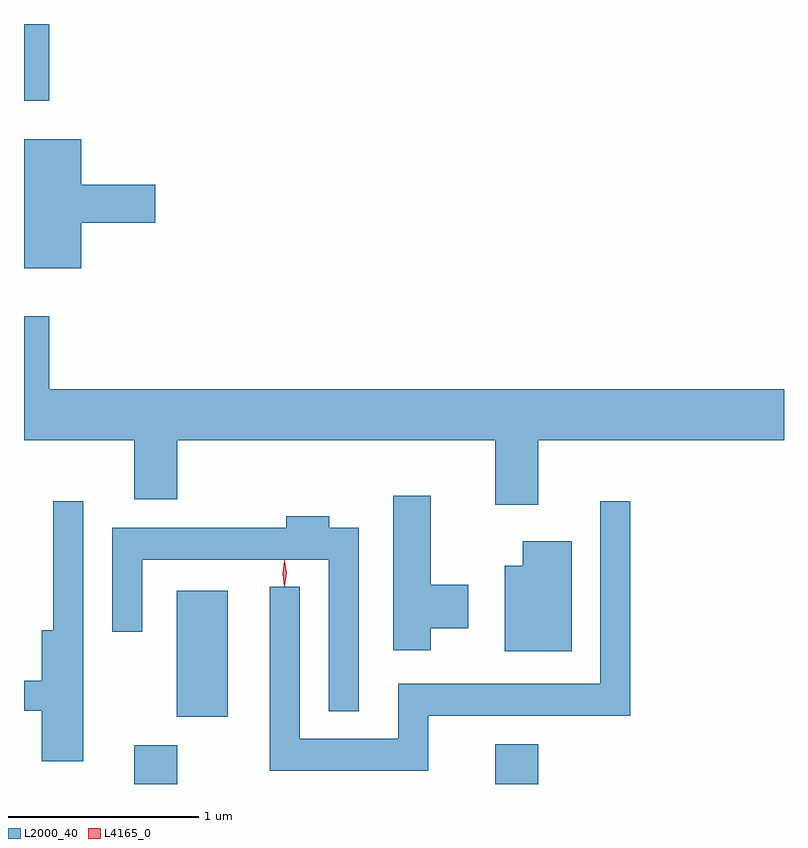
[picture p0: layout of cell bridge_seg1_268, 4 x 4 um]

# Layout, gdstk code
import gdstk
lib = gdstk.Library(unit=1e-6, precision=1e-09)
def R(c, l, rs):  # rectangles x0, y0, x1, y1
    for r in rs: c.add(gdstk.rectangle(r[:2], r[2:], *l))
def P(c, l, *ps):  # polygons
    for p in ps: c.add(gdstk.Polygon(p, *l))
L2000_40 = (2000, 40)
L4165_0 = (4165, 0)

bridge_seg1_268 = lib.new_cell('bridge_seg1_268')
R(bridge_seg1_268, L2000_40, [(906.571,893.326,906.799,893.529), (908.471,893.326,908.699,893.534), (906.796,893.681,907.064,894.344), (905.992,896.923,906.124,897.326)])
P(bridge_seg1_268, L2000_40, [(906.294,896.281),(906.684,896.281),(906.684,896.479),(906.294,896.479),(906.294,896.719),(905.992,896.719),(905.992,896.041),(906.294,896.041)],
  [(908.699,895.136),(909.992,895.136),(909.992,895.404),(906.124,895.404),(906.124,895.788),(905.992,895.788),(905.992,895.136),(906.571,895.136),(906.571,894.826),(906.799,894.826),(906.799,895.136),(908.471,895.136),(908.471,894.796),(908.699,894.796)],
  [(908.134,894.146),(908.329,894.146),(908.329,894.374),(908.134,894.374),(908.134,894.844),(907.936,894.844),(907.936,894.031),(908.134,894.031)],
  [(906.304,894.813),(906.146,894.813),(906.146,894.134),(906.086,894.134),(906.086,893.869),(905.992,893.869),(905.992,893.711),(906.086,893.711),(906.086,893.446),(906.304,893.446)],
  [(908.119,893.686),(909.184,893.686),(909.184,894.813),(909.026,894.813),(909.026,893.854),(907.961,893.854),(907.961,893.564),(907.444,893.564),(907.444,894.363),(907.286,894.363),(907.286,893.396),(908.119,893.396)],
  [(907.754,894.674),(907.599,894.674),(907.599,894.734),(907.371,894.734),(907.371,894.674),(906.456,894.674),(906.456,894.128),(906.614,894.128),(906.614,894.506),(907.596,894.506),(907.596,893.708),(907.754,893.708)],
  [(908.874,894.604),(908.616,894.604),(908.616,894.474),(908.521,894.474),(908.521,894.026),(908.874,894.026)])
P(bridge_seg1_268, L4165_0, [(907.364,894.367),(907.364,894.368),(907.354,894.434),(907.364,894.5),(907.364,894.501),(907.365,894.5),(907.374,894.434),(907.365,894.368)],
  [(907.362,894.364),(907.353,894.433),(907.362,894.502),(907.363,894.503),(907.363,894.502),(907.373,894.433),(907.363,894.364),(907.363,894.364)])

lib.write_gds('bridge_seg1_268.gds')
